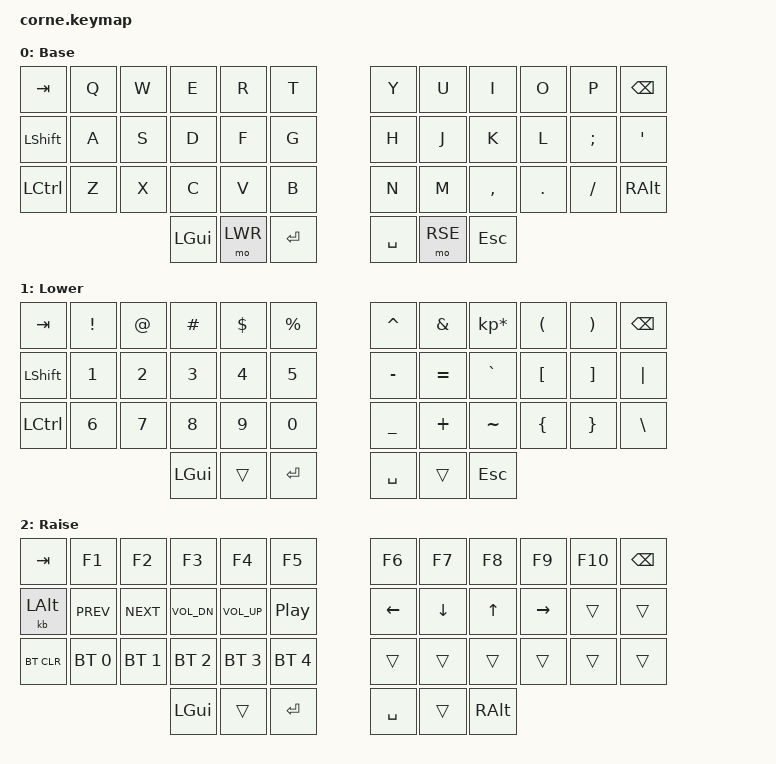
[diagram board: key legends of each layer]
/*
 * Copyright (c) 2020 The ZMK Contributors
 *
 * SPDX-License-Identifier: MIT
 */

#include <behaviors.dtsi>
#include <dt-bindings/zmk/keys.h>
#include <dt-bindings/zmk/bt.h>

#define DEF 0
#define LWR 1
#define RSE 2
#define ADJ 3

/ {

        keymap {
                compatible = "zmk,keymap";

                default_layer {
//  ,-----------------------------------------.             ,-----------------------------------------.
//  | Tab  |   Q  |   W  |   E  |   R  |   T  |             |   Y  |   U  |   I  |   O  |   P  | Bksp |
//  |------+------+------+------+------+------|             |------+------+------+------+------+------|
//  | Shift|   A  |   S  |   D  |   F  |   G  |             |   H  |   J  |   K  |   L  |   ;  |   '  |
//  |------+------+------+------+------+------|             |------+------+------+------+------+------|
//  | Ctrl |   Z  |   X  |   C  |   V  |   B  |             |   N  |   M  |   ,  |   .  |   /  |  Alt |
//  `------+------+------+------+------+------+------+------+------+------+------+------+------+------'
//                              | GUI  |Lower |Enter |Space |Raise | Esc  |
//                              `-----------------------------------------'
                        label = "Base";
                        bindings = <
   &kp TAB     &kp Q  &kp W  &kp E     &kp R    &kp T        &kp Y      &kp U    &kp I      &kp O    &kp P     &kp BSPC
   &kp LSHIFT  &kp A  &kp S  &kp D     &kp F    &kp G        &kp H      &kp J    &kp K      &kp L    &kp SEMI  &kp SQT
   &kp LCTRL   &kp Z  &kp X  &kp C     &kp V    &kp B        &kp N      &kp M    &kp COMMA  &kp DOT  &kp FSLH  &kp RALT
                             &kp LGUI  &mo LWR  &kp RET      &kp SPACE  &mo RSE  &kp ESC
                        >;
                };

                lower_layer {
// Lower layer
//  ,-----------------------------------------.             ,-----------------------------------------.
//  | Tab  |   !  |   @  |   #  |   $  |   %  |             |   ^  |   &  |   *  |   (  |   )  | Bksp |
//  |------+------+------+------+------+------|             |------+------+------+------+------+------|
//  | Shift|   1  |   2  |   3  |   4  |   5  |             |   -  |   =  |   `  |   [  |   ]  |  |   |
//  |------+------+------+------+------+------|             |------+------+------+------+------+------|
//  | Ctrl |   6  |   7  |   8  |   9  |   0  |             |   _  |   +  |   ~  |   {  |   }  |  \   |
//  `------+------+------+------+------+------+------+------+------+------+------+------+------+------'
//                              | GUI  |      |Enter |Space |      | Esc  |
//                              `-----------------------------------------'
                        label = "Lower";
                        bindings = <
   &kp TAB    &kp EXCL  &kp AT  &kp HASH  &kp DLLR  &kp PRCNT    &kp CARET  &kp AMPS  &kp KP_MULTIPLY  &kp LPAR   &kp RPAR  &kp BSPC
   &kp LSHIFT &kp  N1   &kp N2  &kp  N3   &kp  N4   &kp   N5     &kp MINUS  &kp EQUAL &kp GRAVE        &kp LBKT   &kp RBKT  &kp PIPE
   &kp LCTRL  &kp  N6   &kp N7  &kp  N8   &kp  N9   &kp   N0     &kp UNDER  &kp PLUS  &kp TILDE        &kp LBRC   &kp RBRC  &kp BSLH
                          	&kp LGUI  &trans    &kp RET      &kp SPACE  &trans   &kp ESC
                        >;
                };

                raise_layer {
// Raise layer
//  ,------------------------------------------.             ,-----------------------------------------.
//  | Tab  |  F1  |  F2  |  F3  |  F4  |  F5   |             |  F6  |  F7  |  F8  |  F9  | F10  | Bksp |
//  |------+------+------+------+------+-------|             |------+------+------+------+------+------|
//  | Alt  |  PRE |  NXT | VOL- | VOL+ |PLY/PSE|             | Left | Down |  Up  | Right|      |      |
//  |------+------+------+------+------+-------|             |------+------+------+------+------+------|
//  | BTCLR| BT0  | BT1  | BT2  | BT3  | BT4   |             |      |      |      |      |      |      |
//  `------+------+------+------+------+-------+------+------+------+------+------+------+------+------'
//                              | GUI  |       |Enter |Space |      | Alt  |
//                              `------------------------------------------'
                        label = "Raise";
                        bindings = <
   &kp TAB    &kp F1       &kp F2       &kp F3       &kp F4       &kp F5        &kp F6   &kp F7   &kp F8 &kp F9    &kp F10 &kp BSPC
   &kb LALT   &kp C_PREV   &kp C_NEXT   &kp C_VOL_DN &kp C_VOL_UP &kp C_PP      &kp LEFT &kp DOWN &kp UP &kp RIGHT &trans  &trans
   &bt BT_CLR &bt BT_SEL 0 &bt BT_SEL 1 &bt BT_SEL 2 &bt BT_SEL 3 &bt BT_SEL 4  &trans   &trans   &trans &trans    &trans  &trans
                      	      &kp LGUI  &trans  &kp RET   &kp SPACE  &trans     &kp RALT
                        >;
                  };
        };

  };

